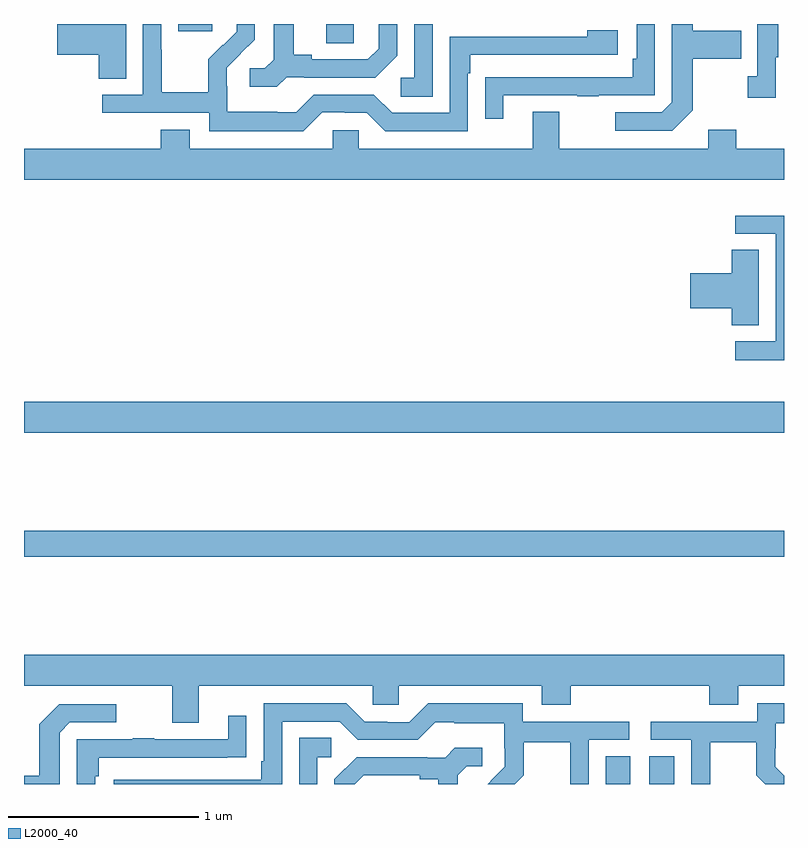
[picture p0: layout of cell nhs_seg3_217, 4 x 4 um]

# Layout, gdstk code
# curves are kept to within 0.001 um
import gdstk
lib = gdstk.Library(unit=1e-6, precision=1e-09)
def R(c, l, rs):  # rectangles x0, y0, x1, y1
    for r in rs: c.add(gdstk.rectangle(r[:2], r[2:], *l))
def P(c, l, *ps):  # polygons
    for p in ps: c.add(gdstk.Polygon(p, *l))
L2000_40 = (2000, 40)

nhs_seg3_217 = lib.new_cell('nhs_seg3_217')
R(nhs_seg3_217, L2000_40, [(124.061,700.4,124.192,700.547), (124.292,700.4,124.423,700.547), (121,701.596,125,701.732), (121,702.248,125,702.412), (122.591,704.299,122.736,704.4), (121.811,704.361,121.99,704.4)])
P(nhs_seg3_217, L2000_40, [(124.519,703.945),(124.519,704.218),(124.775,704.218),(124.775,704.365),(124.519,704.365),(124.519,704.4),(124.41,704.4),(124.41,703.989),(124.356,703.935),(124.113,703.935),(124.113,703.839),(124.413,703.839)],
  [(122.571,703.935),(122.687,703.935),(122.687,703.932),(122.805,703.932),(122.901,703.836),(123.336,703.836),(123.336,704.141),(123.349,704.141),(123.349,704.238),(124.126,704.238),(124.126,704.368),(123.965,704.368),(123.965,704.334),(123.24,704.334),(123.24,703.932),(122.937,703.932),(122.841,704.028),(122.526,704.028),(122.433,703.935),(122.333,703.935),(122.333,703.939),(122.07,703.939),(122.07,704.073),(122.068,704.073),(122.068,704.17),(122.214,704.318),(122.214,704.4),(122.12,704.4),(122.12,704.36),(122.049,704.289),(122.046,704.292),(121.969,704.215),(121.969,704.041),(121.725,704.041),(121.725,704.264),(121.722,704.264),(121.722,704.4),(121.626,704.4),(121.626,704.028),(121.413,704.028),(121.413,703.932),(121.974,703.932),(121.974,703.835),(122.471,703.835)],
  [(123.523,704.025),(123.913,704.025),(123.913,704.02),(124.025,704.02),(124.025,704.025),(124.32,704.025),(124.32,704.4),(124.224,704.4),(124.224,704.218),(124.204,704.218),(124.204,704.121),(123.529,704.121),(123.529,704.12),(123.427,704.12),(123.427,703.902),(123.523,703.902)],
  [(123.15,704.4),(123.054,704.4),(123.054,704.118),(122.982,704.118),(122.982,704.017),(123.15,704.017)],
  [(122.382,704.121),(122.476,704.121),(122.476,704.118),(122.848,704.118),(122.964,704.234),(122.964,704.4),(122.867,704.4),(122.867,704.271),(122.81,704.214),(122.515,704.214),(122.515,704.237),(122.419,704.237),(122.419,704.4),(122.315,704.4),(122.315,704.213),(122.268,704.166),(122.187,704.166),(122.187,704.069),(122.33,704.069)],
  [(124.957,704.225),(124.969,704.225),(124.969,704.4),(124.86,704.4),(124.86,704.126),(124.809,704.126),(124.809,704.013),(124.957,704.013)],
  [(121.537,704.4),(121.176,704.4),(121.176,704.237),(121.394,704.237),(121.394,704.113),(121.537,704.113)],
  [(125,703.744),(124.749,703.744),(124.749,703.843),(124.601,703.843),(124.601,703.744),(123.817,703.744),(123.817,703.939),(123.677,703.939),(123.677,703.744),(122.763,703.744),(122.763,703.842),(122.625,703.842),(122.625,703.744),(121.873,703.744),(121.873,703.843),(121.721,703.843),(121.721,703.744),(121,703.744),(121,703.58),(125,703.58)],
  [(125,703.392),(124.743,703.392),(124.743,703.296),(124.956,703.296),(124.956,702.729),(124.743,702.729),(124.743,702.631),(125,702.631)],
  [(124.867,703.211),(124.724,703.211),(124.724,703.088),(124.506,703.088),(124.506,702.905),(124.724,702.905),(124.724,702.814),(124.867,702.814)],
  [(121.921,700.916),(122.835,700.916),(122.835,700.818),(122.973,700.818),(122.973,700.916),(123.725,700.916),(123.725,700.817),(123.878,700.817),(123.878,700.916),(124.607,700.916),(124.607,700.817),(124.759,700.817),(124.759,700.916),(125,700.916),(125,701.08),(121,701.08),(121,700.916),(121.781,700.916),(121.781,700.722),(121.921,700.722)],
  [(124.611,700.62),(124.855,700.62),(124.855,700.445),(124.9,700.4),(125,700.4),(125,700.444),(124.954,700.49),(124.954,700.587),(124.956,700.587),(124.956,700.721),(125,700.721),(125,700.825),(124.86,700.825),(124.86,700.728),(124.299,700.728),(124.299,700.632),(124.512,700.632),(124.512,700.4),(124.611,700.4)],
  [(122.358,700.728),(122.661,700.728),(122.757,700.632),(123.072,700.632),(123.165,700.725),(123.265,700.725),(123.265,700.721),(123.528,700.721),(123.528,700.587),(123.53,700.587),(123.53,700.49),(123.456,700.416),(123.457,700.415),(123.442,700.4),(123.584,700.4),(123.629,700.445),(123.629,700.62),(123.874,700.62),(123.874,700.4),(123.972,700.4),(123.972,700.632),(124.186,700.632),(124.186,700.728),(123.624,700.728),(123.624,700.825),(123.127,700.825),(123.027,700.725),(122.912,700.725),(122.912,700.728),(122.793,700.728),(122.697,700.824),(122.262,700.824),(122.262,700.519),(122.249,700.519),(122.249,700.422),(121.473,700.422),(121.473,700.4),(122.358,700.4)],
  [(121.188,700.671),(121.242,700.725),(121.486,700.725),(121.486,700.821),(121.185,700.821),(121.08,700.715),(121.08,700.443),(121,700.443),(121,700.4),(121.188,700.4)],
  [(121.374,700.442),(121.394,700.442),(121.394,700.539),(122.069,700.539),(122.069,700.54),(122.171,700.54),(122.171,700.759),(122.075,700.759),(122.075,700.635),(121.685,700.635),(121.685,700.64),(121.573,700.64),(121.573,700.635),(121.278,700.635),(121.278,700.4),(121.374,700.4)],
  [(122.544,700.542),(122.617,700.542),(122.617,700.643),(122.448,700.643),(122.448,700.4),(122.544,700.4)],
  [(122.788,700.446),(123.083,700.446),(123.083,700.424),(123.179,700.424),(123.179,700.4),(123.283,700.4),(123.283,700.447),(123.33,700.494),(123.412,700.494),(123.412,700.591),(123.268,700.591),(123.216,700.539),(123.122,700.539),(123.122,700.542),(122.75,700.542),(122.634,700.426),(122.634,700.4),(122.742,700.4)])

lib.write_gds('nhs_seg3_217.gds')
